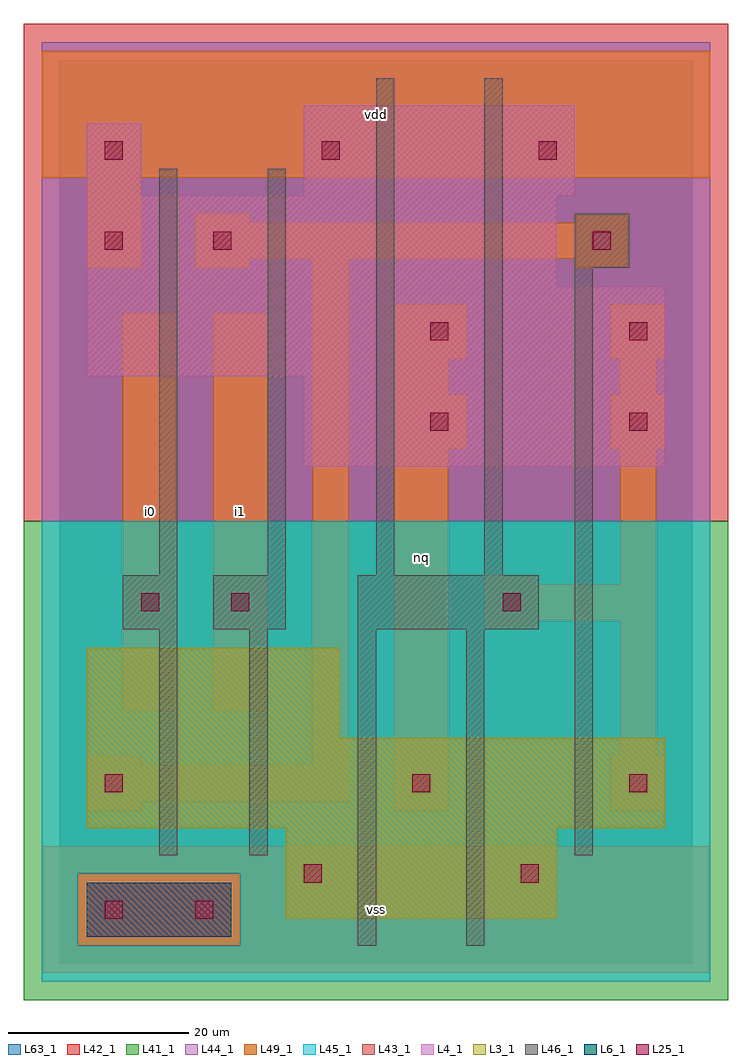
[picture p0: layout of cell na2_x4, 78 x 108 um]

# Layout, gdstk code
import gdstk
lib = gdstk.Library(unit=1e-6, precision=1e-09)
def R(c, l, rs):  # rectangles x0, y0, x1, y1
    for r in rs: c.add(gdstk.rectangle(r[:2], r[2:], *l))
def A(c, l, x, y, w, h, nx, ny, dx, dy):  # array of equal rectangles
    R(c, l, [(x+i*dx, y+j*dy, x+i*dx+w, y+j*dy+h) for i in range(nx) for j in range(ny)])
L3_1 = (3, 1)
L4_1 = (4, 1)
L6_1 = (6, 1)
L25_1 = (25, 1)
L41_1 = (41, 1)
L42_1 = (42, 1)
L43_1 = (43, 1)
L44_1 = (44, 1)
L45_1 = (45, 1)
L46_1 = (46, 1)
L49_1 = (49, 1)
L63_1 = (63, 1)

na2_x4 = lib.new_cell('na2_x4')
R(na2_x4, L3_1, [(25,5,55,15), (3,15,67,25), (3,25,31,35)])
R(na2_x4, L4_1, [(27,55,67,65), (3,65,67,75), (3,75,55,85), (3,85,9,93), (27,85,57,95)])
R(na2_x4, L6_1, [(3,3,19,9)])
A(na2_x4, L25_1, 5, 89, 2, 2, 3, 1, 24, 0)
R(na2_x4, L25_1, [(5,5,7,7), (15,5,17,7), (27,9,29,11), (51,9,53,11), (5,19,7,21), (39,19,41,21), (63,19,65,21), (9,39,11,41), (19,39,21,41), (49,39,51,41), (41,59,43,61), (63,59,65,61), (41,69,43,71), (63,69,65,71), (5,79,7,81), (17,79,19,81), (59,79,61,81)])
R(na2_x4, L41_1, [(-4,-4,74,49)])
R(na2_x4, L42_1, [(-4,49,74,104)])
R(na2_x4, L43_1, [(3,3,19,9), (25,5,55,15), (3,15,67,25), (3,25,31,35), (27,55,67,65), (3,65,67,75), (3,75,55,85), (3,85,9,93), (27,85,57,95)])
R(na2_x4, L44_1, [(2,2,20,10), (-2,49,72,102)])
R(na2_x4, L45_1, [(-2,-2,72,2), (-2,2,2,10), (20,2,72,10), (-2,10,72,49)])
R(na2_x4, L46_1, [(33,2,35,37), (45,2,47,37), (11,12,13,37), (21,12,23,37), (57,12,59,77), (7,37,13,43), (17,37,25,43), (33,37,53,43), (11,43,13,88), (23,43,25,88), (35,43,37,98), (47,43,49,98), (57,77,63,83)])
R(na2_x4, L49_1, [(-2,-1,72,13), (3,17,9,18), (37,17,43,57), (61,17,67,23), (3,18,32,22), (3,22,9,23), (28,22,32,78), (62,23,66,38), (7,28,13,72), (17,28,23,72), (47,37,53,38), (47,38,66,42), (47,42,53,43), (62,42,66,57), (37,57,45,63), (61,57,67,63), (37,63,43,67), (62,63,66,67), (37,67,45,73), (61,67,67,73), (3,77,9,87), (15,77,21,78), (57,77,63,78), (15,78,63,82), (15,82,21,83), (57,82,63,83), (-2,87,72,101)])
R(na2_x4, L63_1, [(0,0,70,100)])
na2_x4.add(gdstk.Label('i0', (10,50), layer=49, texttype=1))
na2_x4.add(gdstk.Label('i0', (10,50), layer=49, texttype=1))
na2_x4.add(gdstk.Label('i1', (20,50), layer=49, texttype=1))
na2_x4.add(gdstk.Label('i1', (20,50), layer=49, texttype=1))
na2_x4.add(gdstk.Label('vss', (35,6), layer=49, texttype=1))
na2_x4.add(gdstk.Label('vss', (35,6), layer=49, texttype=1))
na2_x4.add(gdstk.Label('nq', (40,45), layer=49, texttype=1))
na2_x4.add(gdstk.Label('nq', (40,45), layer=49, texttype=1))
na2_x4.add(gdstk.Label('vdd', (35,94), layer=49, texttype=1))
na2_x4.add(gdstk.Label('vdd', (35,94), layer=49, texttype=1))

lib.write_gds('na2_x4.gds')
